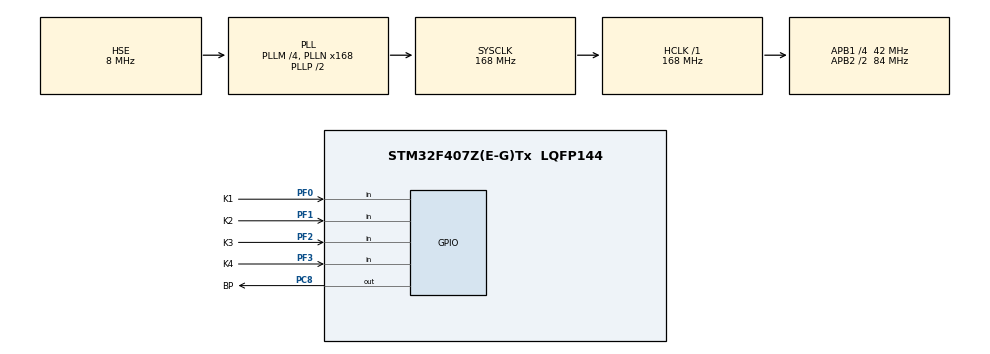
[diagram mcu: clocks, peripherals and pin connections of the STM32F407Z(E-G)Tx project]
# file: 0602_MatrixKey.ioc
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Mcu.Family=STM32F4
Mcu.Name=STM32F407Z(E-G)Tx
Mcu.Package=LQFP144
NVIC.PriorityGroup=NVIC_PRIORITYGROUP_4
PA13.Mode=Serial_Wire
PA13.Signal=SYS_JTMS-SWDIO
PA14.Mode=Serial_Wire
PA14.Signal=SYS_JTCK-SWCLK
PC8.GPIO_Label=BP
PC8.PinState=GPIO_PIN_SET
PC8.Signal=GPIO_Output
PF0.GPIO_Label=K1
PF0.Signal=GPIO_Input
PF1.GPIO_Label=K2
PF1.Signal=GPIO_Input
PF2.GPIO_Label=K3
PF2.Signal=GPIO_Input
PF3.GPIO_Label=K4
PF3.Signal=GPIO_Input
PH0-OSC_IN.Mode=HSE-External-Oscillator
PH0-OSC_IN.Signal=RCC_OSC_IN
PH1-OSC_OUT.Mode=HSE-External-Oscillator
PH1-OSC_OUT.Signal=RCC_OSC_OUT
ProjectManager.HeapSize=0x200
ProjectManager.StackSize=0x400
ProjectManager.TargetToolchain=MDK-ARM V5
RCC.48MHZClocksFreq_Value=84000000
RCC.AHBFreq_Value=168000000
RCC.APB1CLKDivider=RCC_HCLK_DIV4
RCC.APB1Freq_Value=42000000
RCC.APB1TimFreq_Value=84000000
RCC.APB2CLKDivider=RCC_HCLK_DIV2
RCC.APB2Freq_Value=84000000
RCC.APB2TimFreq_Value=168000000
RCC.CortexFreq_Value=168000000
RCC.HCLKFreq_Value=168000000
RCC.HSE_VALUE=8000000
RCC.HSI_VALUE=16000000
RCC.LSE_VALUE=32768
RCC.PLLM=4
RCC.PLLN=168
RCC.PLLSourceVirtual=RCC_PLLSOURCE_HSE
RCC.SYSCLKFreq_VALUE=168000000
RCC.SYSCLKSource=RCC_SYSCLKSOURCE_PLLCLK
RCC.VCOOutputFreq_Value=336000000
board=custom

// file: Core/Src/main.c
/* USER CODE BEGIN Header */
/**
  ******************************************************************************
  * @file           : main.c
  * @brief          : Main program body
  ******************************************************************************
  * @attention
  *
  * Copyright (c) 2026 STMicroelectronics.
  * All rights reserved.
  *
  * This software is licensed under terms that can be found in the LICENSE file
  * in the root directory of this software component.
  * If no LICENSE file comes with this software, it is provided AS-IS.
  *
  ******************************************************************************
  */
/* USER CODE END Header */
#include "main.h"
#include "gpio.h"

/* USER CODE BEGIN PV */
void Ambulance(void);
void ElectricCar(void);
/* USER CODE END PV */

void SystemClock_Config(void);

int main(void)
{

  /* MCU Configuration--------------------------------------------------------*/

  /* Reset of all peripherals, Initializes the Flash interface and the Systick. */
  HAL_Init();

  /* Configure the system clock */
  SystemClock_Config();

  /* Initialize all configured peripherals */
  MX_GPIO_Init();

  /* Infinite loop */
  while (1)
  {

    /* USER CODE BEGIN 3 */
		if(HAL_GPIO_ReadPin(GPIOE,GPIO_PIN_0)==GPIO_PIN_RESET)
    {
        HAL_Delay(20);
        if(HAL_GPIO_ReadPin(GPIOE,GPIO_PIN_0)==GPIO_PIN_RESET)
        {
            while(HAL_GPIO_ReadPin(GPIOE,GPIO_PIN_0)==GPIO_PIN_RESET);
            Ambulance();
        }
    }
    if(HAL_GPIO_ReadPin(GPIOE,GPIO_PIN_1)==GPIO_PIN_RESET)
    {
        HAL_Delay(20);
        if(HAL_GPIO_ReadPin(GPIOE,GPIO_PIN_1)==GPIO_PIN_RESET)
        {
            while(HAL_GPIO_ReadPin(GPIOE,GPIO_PIN_1)==GPIO_PIN_RESET);
            ElectricCar();
        }
    }
  }
  /* USER CODE END 3 */
}

void SystemClock_Config(void)
{
  RCC_OscInitTypeDef RCC_OscInitStruct = {0};
  RCC_ClkInitTypeDef RCC_ClkInitStruct = {0};

  /** Configure the main internal regulator output voltage
  */
  __HAL_RCC_PWR_CLK_ENABLE();
  __HAL_PWR_VOLTAGESCALING_CONFIG(PWR_REGULATOR_VOLTAGE_SCALE1);

  /** Initializes the RCC Oscillators according to the specified parameters
  * in the RCC_OscInitTypeDef structure.
  */
  RCC_OscInitStruct.OscillatorType = RCC_OSCILLATORTYPE_HSE;
  RCC_OscInitStruct.HSEState = RCC_HSE_ON;
  RCC_OscInitStruct.PLL.PLLState = RCC_PLL_ON;
  RCC_OscInitStruct.PLL.PLLSource = RCC_PLLSOURCE_HSE;
  RCC_OscInitStruct.PLL.PLLM = 4;
  RCC_OscInitStruct.PLL.PLLN = 168;
  RCC_OscInitStruct.PLL.PLLP = RCC_PLLP_DIV2;
  RCC_OscInitStruct.PLL.PLLQ = 4;
  if (HAL_RCC_OscConfig(&RCC_OscInitStruct) != HAL_OK)
  {
    Error_Handler();
  }

  /** Initializes the CPU, AHB and APB buses clocks
  */
  RCC_ClkInitStruct.ClockType = RCC_CLOCKTYPE_HCLK|RCC_CLOCKTYPE_SYSCLK
                              |RCC_CLOCKTYPE_PCLK1|RCC_CLOCKTYPE_PCLK2;
  RCC_ClkInitStruct.SYSCLKSource = RCC_SYSCLKSOURCE_PLLCLK;
  RCC_ClkInitStruct.AHBCLKDivider = RCC_SYSCLK_DIV1;
  RCC_ClkInitStruct.APB1CLKDivider = RCC_HCLK_DIV4;
  RCC_ClkInitStruct.APB2CLKDivider = RCC_HCLK_DIV2;

  if (HAL_RCC_ClockConfig(&RCC_ClkInitStruct, FLASH_LATENCY_5) != HAL_OK)
  {
    Error_Handler();
  }
}

/* USER CODE BEGIN 4 */
void Ambulance(void)
{
    uint8_t i;
    for(i=0;i<3;i++)
    {
        HAL_GPIO_WritePin(GPIOC, GPIO_PIN_8, GPIO_PIN_RESET);
        HAL_Delay(300);
        HAL_GPIO_WritePin(GPIOC, GPIO_PIN_8, GPIO_PIN_SET);
        HAL_Delay(150);
        HAL_GPIO_WritePin(GPIOC, GPIO_PIN_8, GPIO_PIN_RESET);
        HAL_Delay(150);
        HAL_GPIO_WritePin(GPIOC, GPIO_PIN_8, GPIO_PIN_SET);
        HAL_Delay(300);
    }
}

void ElectricCar(void)
{
    uint8_t i;
    for(i=0;i<10;i++)
    {
        HAL_GPIO_WritePin(GPIOC, GPIO_PIN_8, GPIO_PIN_RESET);
        HAL_Delay(80);
        HAL_GPIO_WritePin(GPIOC, GPIO_PIN_8, GPIO_PIN_SET);
        HAL_Delay(80);
    }
}
/* USER CODE END 4 */

void Error_Handler(void)
{
  __disable_irq();
  while (1)
  {
  }
}
